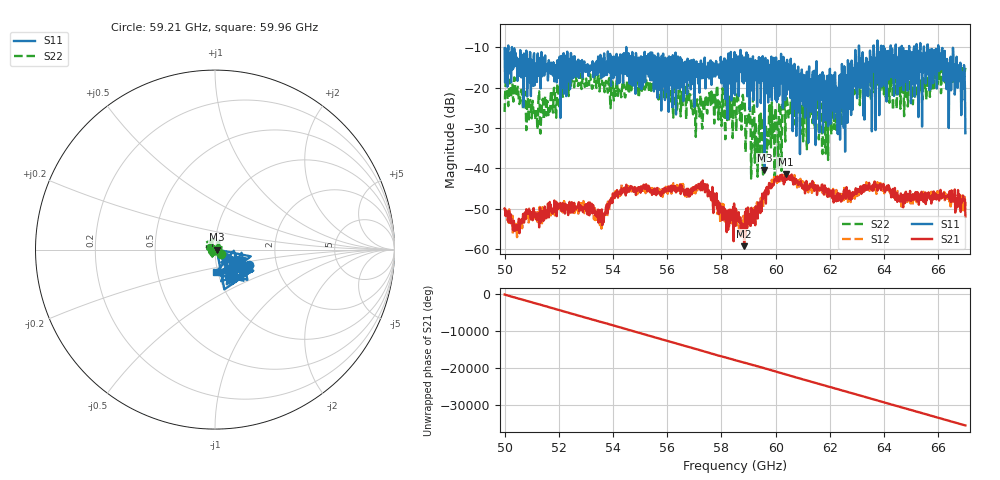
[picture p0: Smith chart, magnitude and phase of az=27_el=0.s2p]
!Created with skrf (http://scikit-rf.org).
# GHz S RI R 50.0
!freq ReS11 ImS11 ReS21 ImS21 ReS12 ImS12 ReS22 ImS22
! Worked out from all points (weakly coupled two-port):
!   1001 points, 50 GHz to 67 GHz, reference 50 ohm
!   highest |S21| = -41.37 dB at 60.37 GHz (marker M1); lowest = -59.3 dB at 58.84 GHz (marker M2)
!   lowest |S11| = -40.4 dB at 59.59 GHz (marker M3), VSWR 1.02, Z = 51 + j0.0203 ohm
!   |S11| at or under -10 dB: 50.27 GHz to 54.49 GHz (4.215 GHz wide, 8.05 % of centre); 54.49 GHz to 63.07 GHz (8.583 GHz wide, 14.6 % of centre); 66.01 GHz to end of sweep (the widest 3 of 19)
!   |S22| runs from -43.7 to -14.0 dB; largest |S21 - S12| = 0.0019
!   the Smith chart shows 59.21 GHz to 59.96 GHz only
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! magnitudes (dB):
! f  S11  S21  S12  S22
! 50 GHz  -10.2  -49.9  -50.1  -26.0
! 50.42 GHz  -14.5  -54.5  -54.1  -22.1
! 51.27 GHz  -14.7  -54.6  -53.4  -20.9
! 52.84 GHz  -14.4  -49.4  -48.4  -20.3
! 53.6 GHz  -13.3  -54.1  -51.4  -19.1
! 54.4 GHz  -11.4  -45.3  -45.2  -19.2
! 55.68 GHz  -13.7  -45.8  -45.0  -22.9
! 57.4 GHz  -14.0  -45.9  -45.2  -24.2
! 58.5 GHz  -21.8  -54.2  -52.8  -25.9
! 58.84 GHz  -12.5  -59.3  -53.3  -23.6
! 59.59 GHz  -40.4  -47.2  -46.0  -27.8
! 60.37 GHz  -16.0  -41.4  -42.4  -26.5
! 61.34 GHz  -24.6  -44.3  -46.0  -26.8
! 61.78 GHz  -16.9  -46.5  -44.6  -21.1
! 62.55 GHz  -15.1  -47.0  -46.2  -20.3
! 63.01 GHz  -22.6  -45.9  -46.3  -19.3
! 63.33 GHz  -21.9  -45.2  -45.5  -18.8
! 64.18 GHz  -17.9  -44.7  -45.5  -19.3
! 64.81 GHz  -14.5  -45.8  -47.5  -22.2
! 66.08 GHz  -15.1  -45.3  -46.3  -16.1
! 66.75 GHz  -18.5  -48.1  -49.1  -17.7
! 67 GHz  -31.3  -51.9  -48.2  -15.0
